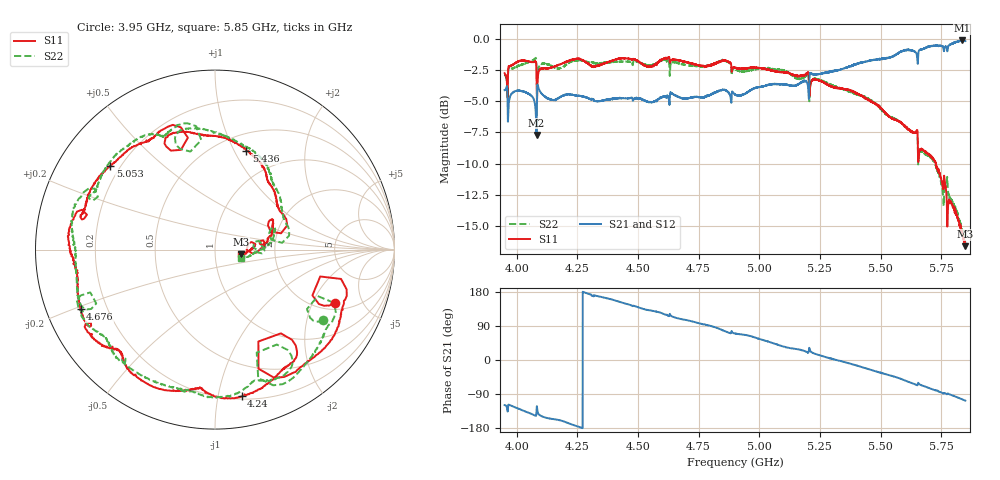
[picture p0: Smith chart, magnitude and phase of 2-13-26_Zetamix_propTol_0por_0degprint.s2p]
# GHZ S RI R 50.000000000000
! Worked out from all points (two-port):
!   4501 points, 3.95 GHz to 5.85 GHz, reference 50 ohm
!   highest |S21| = -0.10 dB at 5.837 GHz (marker M1); lowest = -7.7 dB at 4.082 GHz (marker M2)
!   |S21| within 3 dB of the highest: 5.207 GHz to end of sweep
!   lowest |S11| = -16.6 dB at 5.849 GHz (marker M3), VSWR 1.35, Z = 66.8 - j3.51 ohm
!   |S11| at or under -10 dB: 5.728 GHz to end of sweep
!   |S22| runs from -16.5 to -1.5 dB; largest |S21 - S12| = 0.055
!   S11 on the Smith chart (normalised r, x): 3.95 GHz: 2.36, -2.99; 4.24 GHz: 0.22, -1.17; 4.676 GHz: 0.10, -0.21; 5.053 GHz: 0.16, +0.34; 5.436 GHz: 0.68, +1.12; 5.85 GHz: 1.34, -0.07
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3.95  0.6675 -0.2951  -0.3032 -0.5461  -0.3008 -0.5481  0.604 -0.3927
3.970267  0.7181 -0.3017  -0.2774 -0.5065  -0.2757 -0.5005  0.6415 -0.4117
4.007  0.6718 -0.4575  -0.3873 -0.4875  -0.3682 -0.4849  0.5898 -0.5174
4.072022  0.4705 -0.6605  -0.4683 -0.3205  -0.4718 -0.3319  0.4557 -0.6922
4.081733  0.2426 -0.6638  -0.282 -0.301  -0.2845 -0.3062  0.2407 -0.7155
4.175889  0.3266 -0.719  -0.5433 -0.2106  -0.5345 -0.2107  0.2176 -0.732
4.239644  0.1483 -0.8172  -0.59 -0.074  -0.5848 -0.0895  0.0679 -0.8167
4.267089  0.0406 -0.8274  -0.5907 -0.0116  -0.5992 -0.024  -0.0227 -0.8218
4.426267  -0.3214 -0.773  -0.5162 0.2639  -0.5195 0.2433  -0.4036 -0.7039
4.583756  -0.5963 -0.5425  -0.3406 0.4607  -0.3481 0.4479  -0.676 -0.4452
4.676222  -0.7492 -0.3318  -0.182 0.5517  -0.1996 0.5519  -0.7676 -0.2092
4.840889  -0.8153 0.0354  0.0983 0.6157  0.0745 0.6207  -0.8007 0.1691
4.9  -0.7391 0.1995  0.2076 0.5612  0.1975 0.5687  -0.6935 0.3039
5.053267  -0.5829 0.4667  0.4654 0.4661  0.4516 0.4869  -0.5086 0.5635
5.217089  -0.2689 0.6269  0.6817 0.2478  0.667 0.2718  -0.2072 0.6513
5.4358  0.1741 0.5496  0.757 -0.293  0.7682 -0.258  0.2226 0.5443
5.533756  0.2906 0.3947  0.6483 -0.5367  0.664 -0.5229  0.3212 0.3697
5.643956  0.3646 0.2082  0.3823 -0.8014  0.422 -0.7852  0.3882 0.1616
5.707711  0.3213 0.1109  0.23 -0.9084  0.2645 -0.9033  0.3259 0.0703
5.837333  0.1641 -0.0204  -0.2372 -0.9594  -0.1984 -0.9696  0.1648 -0.0465
5.848733  0.145 -0.0257  -0.2882 -0.9412  -0.2553 -0.9563  0.1462 -0.0485
5.85  0.1469 -0.0245  -0.2924 -0.9389  -0.2599 -0.9528  0.1424 -0.0472
